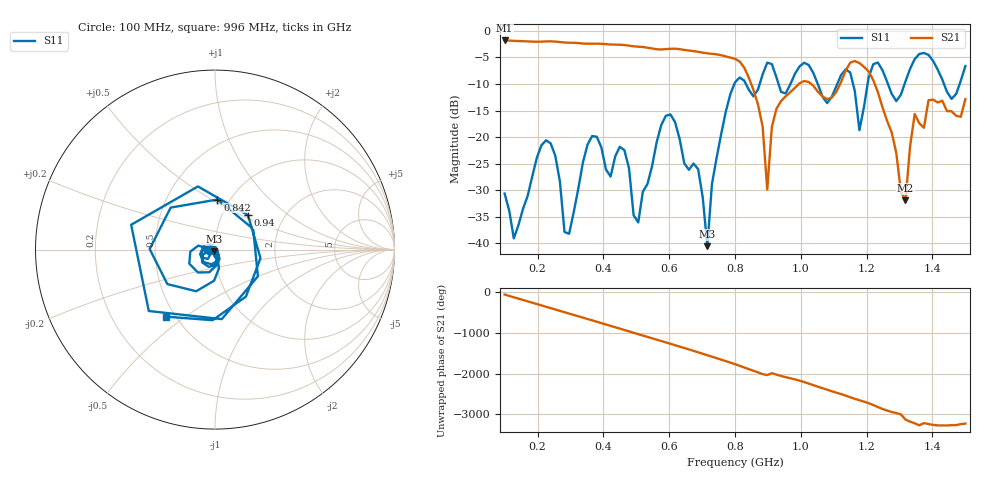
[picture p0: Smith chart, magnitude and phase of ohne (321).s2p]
! NanoVNA-App
! Date: 2025-09-25 14:23:17
! Start: 100MHz Stop: 1,5GHz Points: 101
! S-Parameter data: F S11 S21 S12 S22
# Hz S RI R 50
!  Frequency  S11_Real  S11_Imag  S21_Real  S21_Imag  S12_Real  S12_Imag  S22_Real  S22_Imag
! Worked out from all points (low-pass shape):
!   101 points, 100 MHz to 1.5 GHz, reference 50 ohm
!   highest |S21| = -1.79 dB at 100 MHz (marker M1); lowest = -31.9 dB at 1.318 GHz (marker M2)
!   |S21| within 3 dB of the highest: start of sweep to 771.3 MHz
!   lowest |S11| = -40.6 dB at 716 MHz (marker M3), VSWR 1.02, Z = 49.7 - j0.89 ohm
!   |S11| at or under -10 dB: start of sweep to 798 MHz; 833.2 MHz to 875 MHz (41.82 MHz wide, 4.9 % of centre); 1.051 GHz to 1.111 GHz (59.37 MHz wide, 5.49 % of centre) (the widest 3 of 7)
!   S12 and S22 are empty: the file has one direction only
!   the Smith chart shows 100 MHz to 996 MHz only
!   S11 on the Smith chart (normalised r, x): 100 MHz: 0.94, -0.01; 842 MHz: 0.88, +0.53; 940 MHz: 1.32, +0.55; 996 MHz: 0.45, -0.42
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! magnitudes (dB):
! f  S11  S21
! 100 MHz  -30.6  -1.8
! 128 MHz  -39.1  -1.9
! 226 MHz  -20.6  -2.0
! 296 MHz  -38.2  -2.2
! 338 MHz  -24.8  -2.4
! 464 MHz  -22.5  -2.7
! 506 MHz  -36.1  -3.0
! 576 MHz  -17.7  -3.5
! 688 MHz  -26.0  -3.9
! 716 MHz  -40.6  -4.2
! 800 MHz  -9.7  -5.3
! 842 MHz  -11.1  -8.8
! 898 MHz  -6.0  -29.9
! 940 MHz  -11.5  -13.2
! 996 MHz  -6.7  -9.9
! 1.038 GHz  -7.9  -10.3
! 1.178 GHz  -18.7  -6.1
! 1.22 GHz  -6.3  -9.3
! 1.276 GHz  -11.8  -19.1
! 1.318 GHz  -9.5  -31.9
! 1.346 GHz  -5.3  -15.6
! 1.5 GHz  -6.6  -12.8
